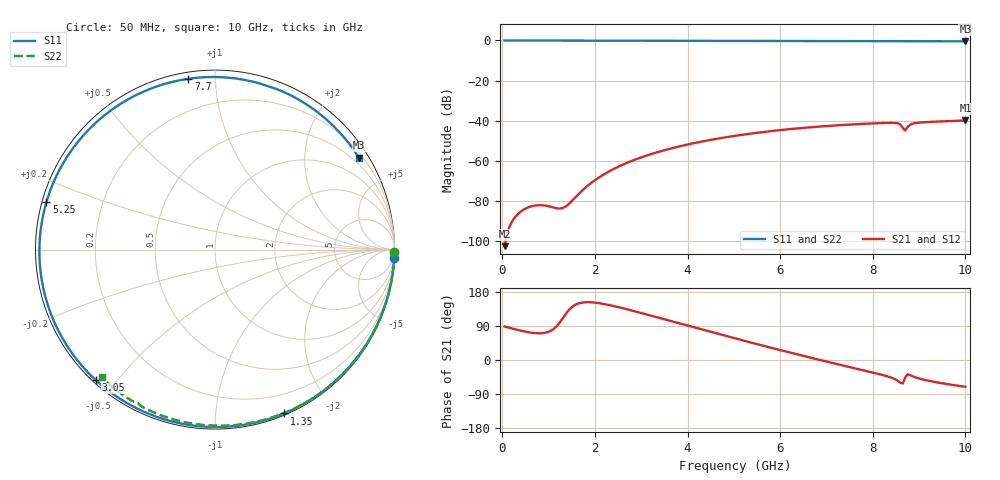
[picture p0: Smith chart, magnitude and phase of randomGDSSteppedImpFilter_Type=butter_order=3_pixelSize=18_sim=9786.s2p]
! freq	dB(S11)	phase(S11)	dB(S12)	phase(S12)
!  dB(S21)	phase(S21)	dB(S22)	phase(S22)
!S-par simulation data
#  GHz  S  DB  R 50
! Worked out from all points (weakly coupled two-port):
!   200 points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, 50 MHz to 10 GHz, reference 50 ohm
!   highest |S21| = -39.83 dB at 10 GHz (marker M1); lowest = -102.4 dB at 50 MHz (marker M2)
!   lowest |S11| = -0.4 dB at 10 GHz (marker M3), VSWR 39.55, Z = 15.9 + j169 ohm
!   |S11| at or under -10 dB: nowhere
!   |S22| runs from -0.4 to 0.0 dB; largest |S21 - S12| = 0
!   S11 on the Smith chart (normalised r, x): 50 MHz: 0, -43; 1.35 GHz: 0.01, -1.51; 3.05 GHz: 0.01, -0.44; 5.25 GHz: 0.01, +0.14; 7.7 GHz: 0.03, +0.86; 10 GHz: 0.32, +3.39
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0.05  -0.00 -2.6  -102.44 88.4  -102.44 88.4  -0.00 -0.8
0.6  -0.04 -31.0  -82.80 72.6  -82.80 72.6  -0.01 -9.1
1  -0.06 -50.8  -82.55 74.5  -82.55 74.5  -0.02 -15.1
1.35  -0.08 -67.1  -82.95 118.2  -82.95 118.2  -0.03 -20.3
1.5  -0.09 -73.7  -79.98 139.3  -79.98 139.3  -0.03 -22.5
1.75  -0.10 -84.5  -74.23 152.0  -74.23 152.0  -0.03 -26.2
2  -0.10 -94.6  -69.60 151.5  -69.60 151.5  -0.04 -29.9
2.3  -0.11 -106.2  -65.28 145.2  -65.28 145.2  -0.04 -34.2
3.05  -0.13 -132.4  -57.83 122.4  -57.83 122.4  -0.06 -45.0
3.4  -0.14 -143.5  -55.31 110.8  -55.31 110.8  -0.07 -49.9
4.2  -0.17 -167.1  -50.84 84.1  -50.84 84.1  -0.09 -60.9
5.05  -0.20 169.7  -47.41 56.3  -47.41 56.3  -0.11 -72.2
5.25  -0.21 164.4  -46.75 49.9  -46.75 49.9  -0.12 -74.8
5.95  -0.24 145.9  -44.77 27.7  -44.77 27.7  -0.14 -83.8
6.7  -0.28 126.0  -43.15 4.8  -43.15 4.8  -0.18 -93.1
7.7  -0.32 98.9  -41.64 -24.4  -41.64 -24.4  -0.24 -105.1
8.35  -0.36 80.6  -41.02 -44.4  -41.02 -44.4  -0.29 -112.8
8.55  -0.37 74.9  -41.31 -55.6  -41.31 -55.6  -0.32 -115.2
8.7  -0.38 70.7  -44.84 -46.3  -44.84 -46.3  -0.38 -116.7
8.8  -0.37 67.7  -42.03 -39.6  -42.03 -39.6  -0.35 -117.7
8.9  -0.38 64.8  -41.21 -44.9  -41.21 -44.9  -0.34 -118.9
10  -0.44 32.6  -39.83 -70.7  -39.83 -70.7  -0.45 -131.4
